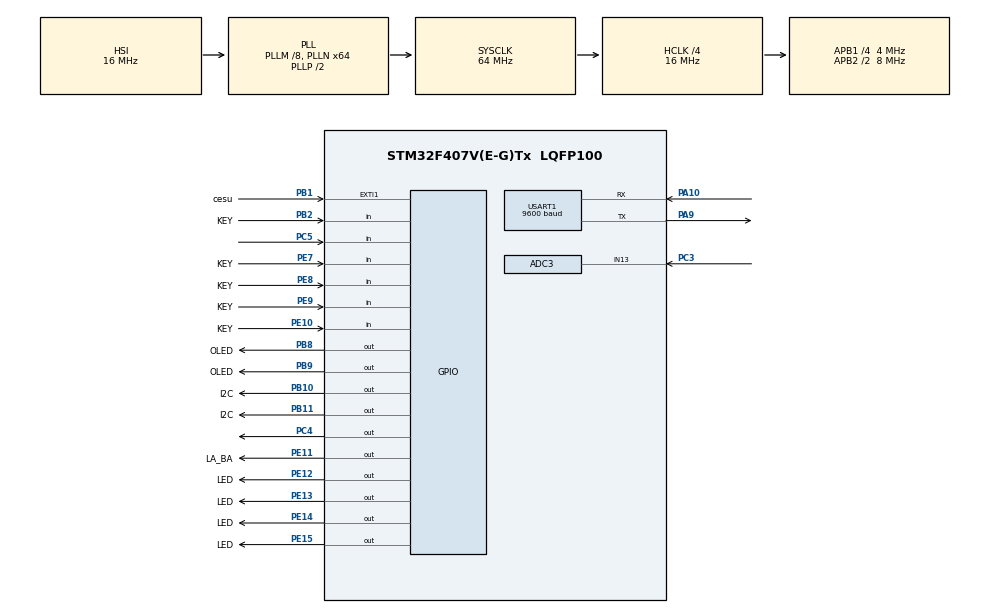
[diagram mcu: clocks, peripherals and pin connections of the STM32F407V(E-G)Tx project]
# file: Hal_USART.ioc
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ADC3.Channel-0\#ChannelRegularConversion=ADC_CHANNEL_13
ADC3.NbrOfConversionFlag=1
ADC3.Rank-0\#ChannelRegularConversion=1
ADC3.SamplingTime-0\#ChannelRegularConversion=ADC_SAMPLETIME_3CYCLES
Mcu.Family=STM32F4
Mcu.Name=STM32F407V(E-G)Tx
Mcu.Package=LQFP100
NVIC.EXTI1_IRQn=true\:1\:0\:true\:false\:true\:true\:true\:true
NVIC.PriorityGroup=NVIC_PRIORITYGROUP_4
NVIC.TIM1_UP_TIM10_IRQn=true\:0\:0\:false\:false\:true\:true\:true\:true
NVIC.TIM2_IRQn=true\:0\:0\:false\:false\:true\:true\:true\:true
NVIC.TIM3_IRQn=true\:0\:0\:false\:false\:true\:true\:true\:true
PA10.GPIO_Speed=GPIO_SPEED_FREQ_HIGH
PA10.Mode=Asynchronous
PA10.Signal=USART1_RX
PA13.Mode=Serial_Wire
PA13.Signal=SYS_JTMS-SWDIO
PA14.Mode=Serial_Wire
PA14.Signal=SYS_JTCK-SWCLK
PA9.GPIO_Speed=GPIO_SPEED_FREQ_HIGH
PA9.Mode=Asynchronous
PA9.Signal=USART1_TX
PB1.GPIO_Label=cesu
PB1.GPIO_ModeDefaultEXTI=GPIO_MODE_IT_FALLING
PB1.Signal=GPXTI1
PB10.GPIO_Label=I2C
PB10.GPIO_ModeDefaultOutputPP=GPIO_MODE_OUTPUT_OD
PB10.GPIO_PuPd=GPIO_NOPULL
PB10.Signal=GPIO_Output
PB11.GPIO_Label=I2C
PB11.GPIO_ModeDefaultOutputPP=GPIO_MODE_OUTPUT_OD
PB11.GPIO_PuPd=GPIO_NOPULL
PB11.Signal=GPIO_Output
PB2.GPIO_Label=KEY
PB2.GPIO_PuPd=GPIO_PULLDOWN
PB2.Signal=GPIO_Input
PB8.GPIO_Label=OLED
PB8.GPIO_ModeDefaultOutputPP=GPIO_MODE_OUTPUT_OD
PB8.GPIO_PuPd=GPIO_NOPULL
PB8.Signal=GPIO_Output
PB9.GPIO_Label=OLED
PB9.GPIO_ModeDefaultOutputPP=GPIO_MODE_OUTPUT_OD
PB9.GPIO_PuPd=GPIO_NOPULL
PB9.Signal=GPIO_Output
PC14-OSC32_IN.Mode=LSE-External-Oscillator
PC14-OSC32_IN.Signal=RCC_OSC32_IN
PC15-OSC32_OUT.Mode=LSE-External-Oscillator
PC15-OSC32_OUT.Signal=RCC_OSC32_OUT
PC3.Signal=ADCx_IN13
PC4.Signal=GPIO_Output
PC5.GPIO_PuPd=GPIO_PULLDOWN
PC5.Signal=GPIO_Input
PE10.GPIO_Label=KEY
PE10.GPIO_PuPd=GPIO_PULLDOWN
PE10.Signal=GPIO_Input
PE11.GPIO_Label=LA_BA
PE11.GPIO_ModeDefaultOutputPP=GPIO_MODE_OUTPUT_OD
PE11.GPIO_PuPd=GPIO_PULLUP
PE11.Signal=GPIO_Output
PE12.GPIO_Label=LED
PE12.GPIO_PuPd=GPIO_PULLDOWN
PE12.Signal=GPIO_Output
PE13.GPIO_Label=LED
PE13.GPIO_PuPd=GPIO_PULLDOWN
PE13.Signal=GPIO_Output
PE14.GPIO_Label=LED
PE14.GPIO_PuPd=GPIO_PULLDOWN
PE14.Signal=GPIO_Output
PE15.GPIO_Label=LED
PE15.GPIO_PuPd=GPIO_PULLDOWN
PE15.Signal=GPIO_Output
PE7.GPIO_Label=KEY
PE7.GPIO_PuPd=GPIO_PULLDOWN
PE7.Signal=GPIO_Input
PE8.GPIO_Label=KEY
PE8.GPIO_PuPd=GPIO_PULLDOWN
PE8.Signal=GPIO_Input
PE9.GPIO_Label=KEY
PE9.GPIO_PuPd=GPIO_PULLDOWN
PE9.Signal=GPIO_Input
ProjectManager.HeapSize=0x200
ProjectManager.StackSize=0x400
ProjectManager.TargetToolchain=MDK-ARM V5.32
RCC.48MHZClocksFreq_Value=32000000
RCC.AHBCLKDivider=RCC_SYSCLK_DIV4
RCC.AHBFreq_Value=16000000
RCC.APB1CLKDivider=RCC_HCLK_DIV4
RCC.APB1Freq_Value=4000000
RCC.APB1TimFreq_Value=8000000
RCC.APB2CLKDivider=RCC_HCLK_DIV2
RCC.APB2Freq_Value=8000000
RCC.APB2TimFreq_Value=16000000
RCC.CortexFreq_Value=16000000
RCC.HCLKFreq_Value=16000000
RCC.HSE_VALUE=25000000
RCC.HSI_VALUE=16000000
RCC.PLLM=8
RCC.PLLN=64
RCC.SYSCLKFreq_VALUE=64000000
RCC.SYSCLKSource=RCC_SYSCLKSOURCE_PLLCLK
RCC.VCOOutputFreq_Value=128000000
SH.ADCx_IN13.0=ADC3_IN13,IN13
TIM1.AutoReloadPreload=TIM_AUTORELOAD_PRELOAD_ENABLE
TIM1.Period=999
TIM1.Prescaler=1599
TIM2.AutoReloadPreload=TIM_AUTORELOAD_PRELOAD_DISABLE
TIM2.Period=9999
TIM2.Prescaler=1599
TIM3.AutoReloadPreload=TIM_AUTORELOAD_PRELOAD_ENABLE
TIM3.Period=999
TIM3.Prescaler=7999
USART1.BaudRate=9600
USART1.VirtualMode=VM_ASYNC
VP_TIM1_VS_ClockSourceINT.Mode=Internal
VP_TIM2_VS_ClockSourceINT.Mode=Internal
VP_TIM3_VS_ClockSourceINT.Mode=Internal
board=custom

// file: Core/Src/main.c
/* USER CODE BEGIN Header */
/**
  ******************************************************************************
  * @file           : main.c
  * @brief          : Main program body
  ******************************************************************************
  * @attention
  *
  * Copyright (c) 2025 STMicroelectronics.
  * All rights reserved.
  *
  * This software is licensed under terms that can be found in the LICENSE file
  * in the root directory of this software component.
  * If no LICENSE file comes with this software, it is provided AS-IS.
  *
  ******************************************************************************
  */
/* USER CODE END Header */
#include "main.h"
#include "adc.h"
#include "tim.h"
#include "usart.h"
#include "gpio.h"

/* USER CODE BEGIN Includes */

#include "string.h"
#include "OLED.h"
#include "MPU6050.h"
#include "delay.h"
#include "stm32f4xx_it.h"
#include "key.h"
#include "led_laba.h"
#include "waring.h"
#include "cesu.h"
#include "adc.h"
#include "chaoshengbo.h"
#include "lanya.h"

/* USER CODE END Includes */

void SystemClock_Config(void);

int main(void)
{

  /* MCU Configuration--------------------------------------------------------*/

  /* Reset of all peripherals, Initializes the Flash interface and the Systick. */
  HAL_Init();

  /* Configure the system clock */
  SystemClock_Config();

  /* Initialize all configured peripherals */
  MX_GPIO_Init();
  MX_USART1_UART_Init();
  MX_TIM1_Init();
  MX_ADC3_Init();
  MX_TIM2_Init();
  MX_TIM3_Init();
  /* USER CODE BEGIN 2 */
	MPU6050_Init();
	OLED_Init();
	MX_USART1_UART_Init();

	HAL_TIM_Base_Start_IT(&htim1);//使能定时器中断
	HAL_TIM_Base_Start_IT(&htim3);

	OLED_ShowString(3,1,"v:");
	OLED_ShowString(3,15,"_C");
	OLED_ShowString(3,11,"T:");
	OLED_ShowString(1,1,"TIME:");
	OLED_ShowString(1,9,":");

  /* USER CODE END 2 */

  /* Infinite loop */
  while (1)
  {

    /* USER CODE BEGIN 3 */

		//OLED_ShowNum(1,1,SystemCoreClock,9);//显示时钟主频

		//OLED_ShowNum(1,11,showtime(),4);

		dosth();						//摔车后系统的响应：所有的灯闪烁，喇叭以一定频率鸣叫
		wendushow();					//显示温度
		speedshow();					//显示速度
		julishow();						//显示距离（后车过近警报）
		ridetimeshow();					//显示已骑行时间
		zhuanxiangdeng();				//转向灯功能
		laba_dadeng();					//喇叭和大灯的功能
		lanya();						//蓝牙发送接收

		moshi();						//晚上还是白天模式

		//OLED_ShowNum(4,1,HAL_GetTick(),4);
  }
  /* USER CODE END 3 */
}

void SystemClock_Config(void)
{
  RCC_OscInitTypeDef RCC_OscInitStruct = {0};
  RCC_ClkInitTypeDef RCC_ClkInitStruct = {0};

  /** Configure the main internal regulator output voltage
  */
  __HAL_RCC_PWR_CLK_ENABLE();
  __HAL_PWR_VOLTAGESCALING_CONFIG(PWR_REGULATOR_VOLTAGE_SCALE1);

  /** Initializes the RCC Oscillators according to the specified parameters
  * in the RCC_OscInitTypeDef structure.
  */
  RCC_OscInitStruct.OscillatorType = RCC_OSCILLATORTYPE_HSI;
  RCC_OscInitStruct.HSIState = RCC_HSI_ON;
  RCC_OscInitStruct.HSICalibrationValue = RCC_HSICALIBRATION_DEFAULT;
  RCC_OscInitStruct.PLL.PLLState = RCC_PLL_ON;
  RCC_OscInitStruct.PLL.PLLSource = RCC_PLLSOURCE_HSI;
  RCC_OscInitStruct.PLL.PLLM = 8;
  RCC_OscInitStruct.PLL.PLLN = 64;
  RCC_OscInitStruct.PLL.PLLP = RCC_PLLP_DIV2;
  RCC_OscInitStruct.PLL.PLLQ = 4;
  if (HAL_RCC_OscConfig(&RCC_OscInitStruct) != HAL_OK)
  {
    Error_Handler();
  }

  /** Initializes the CPU, AHB and APB buses clocks
  */
  RCC_ClkInitStruct.ClockType = RCC_CLOCKTYPE_HCLK|RCC_CLOCKTYPE_SYSCLK
                              |RCC_CLOCKTYPE_PCLK1|RCC_CLOCKTYPE_PCLK2;
  RCC_ClkInitStruct.SYSCLKSource = RCC_SYSCLKSOURCE_PLLCLK;
  RCC_ClkInitStruct.AHBCLKDivider = RCC_SYSCLK_DIV4;
  RCC_ClkInitStruct.APB1CLKDivider = RCC_HCLK_DIV4;
  RCC_ClkInitStruct.APB2CLKDivider = RCC_HCLK_DIV2;

  if (HAL_RCC_ClockConfig(&RCC_ClkInitStruct, FLASH_LATENCY_0) != HAL_OK)
  {
    Error_Handler();
  }
}

void Error_Handler(void)
{
  __disable_irq();
  while (1)
  {
  }
}
